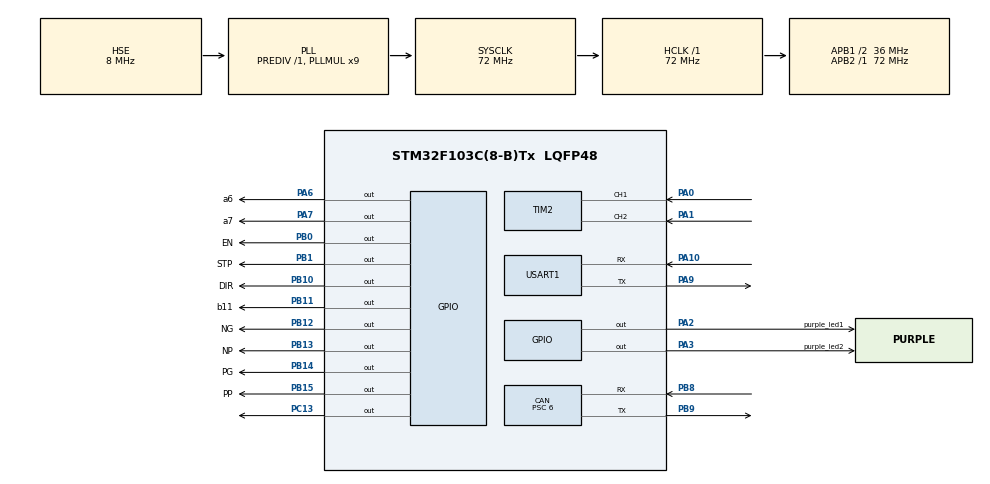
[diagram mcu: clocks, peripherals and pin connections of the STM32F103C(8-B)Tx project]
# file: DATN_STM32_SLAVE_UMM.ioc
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CAN.BS1=CAN_BS1_2TQ
CAN.BS2=CAN_BS2_3TQ
CAN.CalculateBaudRate=999999
CAN.CalculateTimeBit=1000
CAN.CalculateTimeQuantum=166.66666666666669
CAN.NART=DISABLE
CAN.Prescaler=6
Mcu.Family=STM32F1
Mcu.Name=STM32F103C(8-B)Tx
Mcu.Package=LQFP48
NVIC.PriorityGroup=NVIC_PRIORITYGROUP_0
NVIC.TIM1_UP_IRQn=true\:0\:0\:false\:false\:true\:true\:true\:true
NVIC.TIM2_IRQn=true\:0\:0\:false\:false\:true\:true\:true\:true
NVIC.USART1_IRQn=true\:0\:0\:false\:false\:true\:true\:true\:true
NVIC.USB_LP_CAN1_RX0_IRQn=true\:0\:0\:false\:false\:true\:true\:true\:true
PA0-WKUP.GPIO_PuPd=GPIO_PULLUP
PA0-WKUP.Signal=S_TIM2_CH1_ETR
PA1.GPIO_PuPd=GPIO_PULLUP
PA1.Signal=S_TIM2_CH2
PA10.Mode=Asynchronous
PA10.Signal=USART1_RX
PA13.Mode=Serial_Wire
PA13.Signal=SYS_JTMS-SWDIO
PA14.Mode=Serial_Wire
PA14.Signal=SYS_JTCK-SWCLK
PA2.GPIO_Label=purple_led1
PA2.Signal=GPIO_Output
PA3.GPIO_Label=purple_led2
PA3.Signal=GPIO_Output
PA6.GPIO_Label=a6
PA6.Signal=GPIO_Output
PA7.GPIO_Label=a7
PA7.Signal=GPIO_Output
PA9.Mode=Asynchronous
PA9.Signal=USART1_TX
PB0.GPIO_Label=EN
PB0.Signal=GPIO_Output
PB1.GPIO_Label=STP
PB1.Signal=GPIO_Output
PB10.GPIO_Label=DIR
PB10.Signal=GPIO_Output
PB11.GPIO_Label=b11
PB11.Signal=GPIO_Output
PB12.GPIO_Label=NG
PB12.GPIO_Speed=GPIO_SPEED_FREQ_HIGH
PB12.PinState=GPIO_PIN_SET
PB12.Signal=GPIO_Output
PB13.GPIO_Label=NP
PB13.GPIO_PuPd=GPIO_PULLDOWN
PB13.GPIO_Speed=GPIO_SPEED_FREQ_HIGH
PB13.PinState=GPIO_PIN_SET
PB13.Signal=GPIO_Output
PB14.GPIO_Label=PG
PB14.GPIO_Speed=GPIO_SPEED_FREQ_HIGH
PB14.PinState=GPIO_PIN_SET
PB14.Signal=GPIO_Output
PB15.GPIO_Label=PP
PB15.GPIO_Speed=GPIO_SPEED_FREQ_HIGH
PB15.PinState=GPIO_PIN_SET
PB15.Signal=GPIO_Output
PB8.Mode=CAN_Activate
PB8.Signal=CAN_RX
PB9.Mode=CAN_Activate
PB9.Signal=CAN_TX
PC13-TAMPER-RTC.GPIO_Speed=GPIO_SPEED_FREQ_HIGH
PC13-TAMPER-RTC.Signal=GPIO_Output
PC14-OSC32_IN.Mode=LSE-External-Oscillator
PC14-OSC32_IN.Signal=RCC_OSC32_IN
PC15-OSC32_OUT.Mode=LSE-External-Oscillator
PC15-OSC32_OUT.Signal=RCC_OSC32_OUT
PD0-OSC_IN.Mode=HSE-External-Oscillator
PD0-OSC_IN.Signal=RCC_OSC_IN
PD1-OSC_OUT.Mode=HSE-External-Oscillator
PD1-OSC_OUT.Signal=RCC_OSC_OUT
ProjectManager.HeapSize=0x200
ProjectManager.StackSize=0x400
ProjectManager.TargetToolchain=STM32CubeIDE
RCC.AHBFreq_Value=72000000
RCC.APB1CLKDivider=RCC_HCLK_DIV2
RCC.APB1Freq_Value=36000000
RCC.APB1TimFreq_Value=72000000
RCC.APB2Freq_Value=72000000
RCC.APB2TimFreq_Value=72000000
RCC.HCLKFreq_Value=72000000
RCC.PLLMUL=RCC_PLL_MUL9
RCC.PLLSourceVirtual=RCC_PLLSOURCE_HSE
RCC.SYSCLKFreq_VALUE=72000000
RCC.SYSCLKSource=RCC_SYSCLKSOURCE_PLLCLK
RCC.USBFreq_Value=72000000
SH.S_TIM2_CH1_ETR.0=TIM2_CH1,Encoder_Interface
SH.S_TIM2_CH2.0=TIM2_CH2,Encoder_Interface
TIM1.Period=999
TIM1.Prescaler=71
TIM2.AutoReloadPreload=TIM_AUTORELOAD_PRELOAD_DISABLE
TIM2.EncoderMode=TIM_ENCODERMODE_TI12
TIM2.IC1Polarity=TIM_ICPOLARITY_FALLING
TIM2.IC2Polarity=TIM_ICPOLARITY_FALLING
TIM2.TIM_MasterOutputTrigger=TIM_TRGO_ENABLE
TIM2.TIM_MasterSlaveMode=TIM_MASTERSLAVEMODE_ENABLE
TIM4.Prescaler=71
USART1.VirtualMode=VM_ASYNC
VP_TIM1_VS_ClockSourceINT.Mode=Internal
VP_TIM4_VS_ClockSourceINT.Mode=Internal
board=custom

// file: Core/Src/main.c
/* USER CODE BEGIN Header */
/**
 ******************************************************************************
 * @file           : main.c
 * @brief          : Main program body
 ******************************************************************************
 * @attention
 *
 * Copyright (c) 2023 STMicroelectronics.
 * All rights reserved.
 *
 * This software is licensed under terms that can be found in the LICENSE file
 * in the root directory of this software component.
 * If no LICENSE file comes with this software, it is provided AS-IS.
 *
 ******************************************************************************
 */
/* USER CODE END Header */
#include "main.h"

/* USER CODE BEGIN Includes */
#include <stdio.h>
#include <stdbool.h>
#include <string.h>
#include <stdlib.h>
#include <math.h>
/* USER CODE END Includes */

/* USER CODE BEGIN PTD */

CAN_TxHeaderTypeDef TX_CAN_HEADER;
CAN_RxHeaderTypeDef RX_CAN_HEADER;
CAN_FilterTypeDef canfilterconfig;

//=============MODE
#define AC_SERVO 0
#define STP_MOTOR 1

bool Mode = AC_SERVO;
uint8_t Position;
//=============DEBUG
uint16_t count; // for debug
uint32_t position; // for debug

//=============MOTOR
#define GearboxAC_DtoP 15000/360 //Manual setup 15 gear and 1000ppr (15*1000/360)
#define EncoderResolution 15*200/360 // Encoder with 200ppr and 47.2 GearBox
#define ConvertEtoA 360/(15*200)
#define GearboxStep_DtoP 1600/360 // gear box of step motor

int16_t Angle = 0; //Current Angle
uint16_t resetAngle = 0;
float previousAngle = 0;
bool Run = false;
//=============UART
#define TxBufferSize 4  //Transmit Data
#define RxBufferSize 10 //Receive Data Position

#define UART_OK 1
#define UART_NOT_OK 0

uint8_t TxDataUart[TxBufferSize];
uint8_t RxDataUart[RxBufferSize];

int sign; // xet dau cho goc tu step encoder

//=============CAN
uint8_t CAN_Data_Rx[6]; // du lieu nhan tu can
uint32_t TxMailBox;

float pulseEnd = 0; //luu xung ho lan tiep
//int32_t pulseSupply=0;
bool Check_Data = 0; //kiem tra du lie

uint8_t Data_Decode[6] = {'0'}; // Array temp for data send to master
uint8_t RxSaveUart[6] = {'0'}; // Array temp for data send to master
char Data_Saved[6]; //du lieu duoc luu vao sau khi nhan tu CAN
bool flag_send = false; // cho phep gui du lieu
bool flag_run = false;

//=============TIMER1
bool flag_timer1 = false;
bool flag_enable_send = false;

uint8_t countSampleTime = 0; // time for sampling
uint8_t countSendData = 0; // time for send data to CAN

//=============END=============

/* USER CODE END PTD */

/* USER CODE BEGIN PM */
volatile short ExternalPulse;
/* USER CODE END PM */

CAN_HandleTypeDef hcan;

TIM_HandleTypeDef htim1;
TIM_HandleTypeDef htim2;
TIM_HandleTypeDef htim4;

UART_HandleTypeDef huart1;

void SystemClock_Config(void);
static void MX_GPIO_Init(void);
static void MX_TIM1_Init(void);
static void MX_TIM2_Init(void);
static void MX_TIM4_Init(void);
static void MX_CAN_Init(void);
static void MX_USART1_UART_Init(void);

/* USER CODE BEGIN 0 */

//=================STEP MOTOR ENCODER (Checked)
uint8_t getCheckSum(uint8_t *buffer,uint8_t size)
{
	uint16_t sum=0;
	for(uint8_t i = 0 ;i < size;i++)
	{
		sum += buffer[i];
	}
	return(sum&0xFF);
}
void ReadUart(uint8_t l_sAddress)
{
	TxDataUart[0] = 0xFA;
	TxDataUart[1] = l_sAddress;
	TxDataUart[2] = 0x31; // Position read mode int32 (4 bytes data last)
	TxDataUart[3] = 0;
	TxDataUart[3] = getCheckSum(TxDataUart,TxBufferSize-1);

	HAL_UART_Transmit_IT(&huart1, TxDataUart, TxBufferSize);
}
int32_t DecodeData(uint8_t *input)
{
	int32_t readValue = (int32_t)(
			((uint32_t)input[0] << 24)    |
			((uint32_t)input[1] << 16)    |
			((uint32_t)input[2] << 8)     |
			((uint32_t)input[3] << 0));
	return readValue;
}

////=================ENCODER DATA (Checked)
//void EncodeDataDC(uint8_t dataSend[])
//{
//	ReadUart(1);
//	if(Check_Data == 1) // du lieu hop le ?
//	{
//		Check_Data = 0;
//		float Position = (float)(DecodeData(&RxSaveUart[5]));
//		Angle = (Position*PosToDeg*100)/1 - resetAngle; // INT
//	}
//	int IntValue = abs(Angle/100);
//	int DecValue = abs(Angle%100);
//
//	dataSend[0] = DecValue/1%10;
//	dataSend[1] = DecValue/10%10;
//
//	dataSend[2] = IntValue/1%10;
//	dataSend[3] = IntValue/10%10;
//	dataSend[4] = IntValue/100%10;
//
//	if(Angle < 0) dataSend[5] = '-';
//	else 		  dataSend[5] = '+';
//}
void EncodeDataAC(uint8_t dataSend[])
{
	ExternalPulse = __HAL_TIM_GET_COUNTER(&htim2); // pulse input read
	Angle = -ExternalPulse*ConvertEtoA*100;// AC-: 200 Pulse / Cycle *100 to get 2 decimal

	int IntValue = abs(Angle/100);
	int DecValue = abs(Angle%100);

	dataSend[0] = DecValue/1%10;
	dataSend[1] = DecValue/10%10;

	dataSend[2] = IntValue/1%10;
	dataSend[3] = IntValue/10%10;
	dataSend[4] = IntValue/100%10;

	if(Angle < 0) dataSend[5] = '-';
	else	      dataSend[5] = '+';
}

//=================TIMER4 COUNTER MODE DELAY (checked)
void delay_us (uint16_t us)
{
	__HAL_TIM_SET_COUNTER(&htim4,0);
	while (__HAL_TIM_GET_COUNTER(&htim4) < us);
}

//=================CONTROL DC MOTOR (checked tempt)
void ForwardDC(uint16_t l_pulseIn, uint16_t timeDelay)
{
	HAL_GPIO_WritePin(DIR_GPIO_Port, DIR_Pin, GPIO_PIN_SET);
	for(uint16_t i =0; i < l_pulseIn; i++)
	{
		HAL_GPIO_WritePin(STP_GPIO_Port, STP_Pin, GPIO_PIN_SET);
		delay_us(timeDelay);
		HAL_GPIO_WritePin(STP_GPIO_Port, STP_Pin, GPIO_PIN_RESET);
		delay_us(timeDelay);
	}
}
void InverseDC(uint16_t l_pulseIn, uint16_t timeDelay)
{
	HAL_GPIO_WritePin(DIR_GPIO_Port, DIR_Pin, GPIO_PIN_RESET);
	for(uint16_t i = 0; i < l_pulseIn; i++)
	{
		HAL_GPIO_WritePin(STP_GPIO_Port, STP_Pin, GPIO_PIN_SET);
		delay_us(timeDelay);
		HAL_GPIO_WritePin(STP_GPIO_Port, STP_Pin, GPIO_PIN_RESET);
		delay_us(timeDelay);
	}
}

//=================CONTROL AC SERVO (checked tempt)
void Create_pulse_Forward_AC(uint32_t pulse_in, uint32_t time_delay)
{
	HAL_GPIO_WritePin(GPIOB, NP_Pin, GPIO_PIN_SET);
	for (int i = 0; i < pulse_in; i++)
	{
		HAL_GPIO_WritePin(GPIOB, PP_Pin, GPIO_PIN_RESET);
		delay_us(time_delay);
		HAL_GPIO_WritePin(GPIOB, PP_Pin, GPIO_PIN_SET);
		delay_us(time_delay);
	}
}
void Create_pulse_Inverse_AC(uint32_t pulse_in, uint32_t time_delay)
{
	HAL_GPIO_WritePin(GPIOB, NP_Pin, GPIO_PIN_RESET);
	for (int i = 0; i < pulse_in; i++)
	{
		HAL_GPIO_WritePin(GPIOB, PP_Pin, GPIO_PIN_RESET);
		delay_us(time_delay);
		HAL_GPIO_WritePin(GPIOB, PP_Pin, GPIO_PIN_SET);
		delay_us(time_delay);
	}
}

//=================MODE CONTROL AC SERVO/DC MOTOR (Checked)
void Control_Motor(float DELTA)
{
	if(Mode == AC_SERVO)
	{
		float deltaPulse = DELTA*GearboxAC_DtoP; //36000 XUNG/VONG
		pulseEnd += deltaPulse - (int32_t)deltaPulse;
		int32_t pulseSupply = deltaPulse + (int32_t)pulseEnd/1;

		pulseEnd -= (int32_t)pulseEnd/1;
		if(pulseSupply > 0)
		{
			Create_pulse_Forward_AC(abs(pulseSupply), 10);
		}
		else if(pulseSupply < 0)
		{
			Create_pulse_Inverse_AC(abs(pulseSupply), 10);
		}
		else;
	}
	else // DC Motor
	{
		float deltaPulse = DELTA*GearboxStep_DtoP;
		pulseEnd += deltaPulse - (int32_t)deltaPulse;
		int32_t pulseSupply = deltaPulse + (int32_t)pulseEnd/1;

		pulseEnd -= (int32_t)pulseEnd/1;
		if(pulseSupply > 0)
		{
			ForwardDC(abs(pulseSupply), 100);
		}
		else if(pulseSupply < 0)
		{
			InverseDC(abs(pulseSupply), 100);
		}
		else;
	}
}

//=================TIMER1 TIMER MODE SAMPLE TIME (checked)
void HAL_UART_RxCpltCallback(UART_HandleTypeDef *huart)
{
	if(HAL_UART_Receive_IT(&huart1, RxDataUart, RxBufferSize) == HAL_OK)
	{
		if(RxDataUart[0] == 251 && RxDataUart[1] == 1 && RxDataUart [2] == 49)
		{
			Check_Data = 1;
			RxSaveUart[3] = RxDataUart[3];
			RxSaveUart[4] = RxDataUart[4];
			RxSaveUart[5] = RxDataUart[5];
			RxSaveUart[6] = RxDataUart[6];
			RxSaveUart[7] = RxDataUart[7];
			RxSaveUart[8] = RxDataUart[8];
			RxSaveUart[9] = getCheckSum(RxDataUart, RxBufferSize-1);
		}
		else
		{
			memset(RxSaveUart, 0x00,  RxBufferSize);
			ReadUart(1);
		}
	}
}

//=================TIMER1 TIMER MODE SAMPLE TIME (checked)
void HAL_TIM_PeriodElapsedCallback(TIM_HandleTypeDef *htim)
{
	if(htim->Instance == TIM1)
	{
		countSampleTime++;
		countSendData++;
		if(countSampleTime == 3)
		{
			flag_timer1 = true;
			countSampleTime = 0;
		}
		if(countSendData == 1)
		{
			flag_enable_send = true;
			countSendData = 0;
		}
	}
}
//=================TIMER2 EXTERNAL COUNTER MODE ENCODER (Checked)
void HAL_TIM_IC_CaptureCallback(TIM_HandleTypeDef *htim)
{
	if(htim->Instance == TIM2)
	{
		ExternalPulse = __HAL_TIM_GET_COUNTER(&htim2);
	}
}

//=================INTERRUPT CAN RECEIVE MESSAGE (Checked)
void HAL_CAN_RxFifo0MsgPendingCallback(CAN_HandleTypeDef *hcan)
{
	if(HAL_CAN_GetRxMessage(hcan, CAN_RX_FIFO0, &RX_CAN_HEADER, CAN_Data_Rx) == HAL_OK)
	{
		switch(RX_CAN_HEADER.StdId)
		{
		case 0x008:
			Data_Saved[0] = CAN_Data_Rx[0];
			Data_Saved[1] = CAN_Data_Rx[1];
			Data_Saved[2] = CAN_Data_Rx[2];
			Data_Saved[3] = CAN_Data_Rx[3];
			Data_Saved[4] = CAN_Data_Rx[4];
			Data_Saved[5] = CAN_Data_Rx[5];
			HAL_GPIO_TogglePin(GPIOC, GPIO_PIN_13);
			break;
		case 0x000:
			if(CAN_Data_Rx[0] == 's')
			{
				flag_run = true;
			}
			if(CAN_Data_Rx[0] == '4')
			{
				flag_send = true;
			}
			if(CAN_Data_Rx[0] == 'r')
			{
				TIM2->CNT=0;
				ExternalPulse = 0;
				resetAngle = Angle;
				Angle = 0;
				previousAngle = 0;
			}
			break;
		}
	}
}

/* USER CODE END 0 */

int main(void)
{

	/* MCU Configuration--------------------------------------------------------*/

	/* Reset of all peripherals, Initializes the Flash interface and the Systick. */
	HAL_Init();

	/* Configure the system clock */
	SystemClock_Config();

	/* Initialize all configured peripherals */
	MX_GPIO_Init();
	MX_TIM1_Init();
	MX_TIM2_Init();
	MX_TIM4_Init();
	MX_CAN_Init();
	MX_USART1_UART_Init();
	/* USER CODE BEGIN 2 */

	//========CAN
	HAL_CAN_Start(&hcan);
	HAL_CAN_ActivateNotification(&hcan, CAN_IT_RX_FIFO0_MSG_PENDING); // Enable interrupts

	//========TIMER AND COUNTER
	HAL_TIM_Base_Start(&htim4);
	HAL_TIM_Base_Start_IT(&htim1);

//	//========UART
//	HAL_UART_Receive_IT(&huart1, RxDataUart, RxBufferSize);
//	HAL_Delay(100);
//
//	//========ENCODER
//	HAL_TIM_Encoder_Start_IT(&htim2, TIM_CHANNEL_1|TIM_CHANNEL_2);
//	HAL_TIM_IC_Start_IT(&htim2, TIM_CHANNEL_1|TIM_CHANNEL_2);

	//========SET DEFAULT PIN MODE
	HAL_GPIO_WritePin(GPIOB, PG_Pin, GPIO_PIN_SET);
	HAL_GPIO_WritePin(GPIOB, NG_Pin, GPIO_PIN_SET);
	HAL_GPIO_WritePin(GPIOB, PP_Pin, GPIO_PIN_SET);
	HAL_GPIO_WritePin(GPIOB, NP_Pin, GPIO_PIN_SET);
	//========STEP MOTOR SET PIN
	HAL_GPIO_WritePin(GPIOB, EN_Pin, GPIO_PIN_SET); //Enable Step
	HAL_GPIO_WritePin(GPIOB, STP_Pin, GPIO_PIN_RESET);
	HAL_GPIO_WritePin(GPIOB, DIR_Pin, GPIO_PIN_RESET);

	HAL_GPIO_WritePin(purple_led1_GPIO_Port, purple_led1_Pin, GPIO_PIN_SET);
	HAL_GPIO_WritePin(purple_led2_GPIO_Port, purple_led2_Pin, GPIO_PIN_SET);
	/* USER CODE END 2 */

	/* Infinite loop */
	while (1)
	{

		/* USER CODE BEGIN 3 */
		InverseDC(1600, 100);
		HAL_Delay(1000);
		ForwardDC(1600, 100);
		HAL_Delay(1000);

	}
	/* USER CODE END 3 */
}

void SystemClock_Config(void)
{
	RCC_OscInitTypeDef RCC_OscInitStruct = {0};
	RCC_ClkInitTypeDef RCC_ClkInitStruct = {0};

	/** Initializes the RCC Oscillators according to the specified parameters
	 * in the RCC_OscInitTypeDef structure.
	 */
	RCC_OscInitStruct.OscillatorType = RCC_OSCILLATORTYPE_HSE;
	RCC_OscInitStruct.HSEState = RCC_HSE_ON;
	RCC_OscInitStruct.HSEPredivValue = RCC_HSE_PREDIV_DIV1;
	RCC_OscInitStruct.HSIState = RCC_HSI_ON;
	RCC_OscInitStruct.PLL.PLLState = RCC_PLL_ON;
	RCC_OscInitStruct.PLL.PLLSource = RCC_PLLSOURCE_HSE;
	RCC_OscInitStruct.PLL.PLLMUL = RCC_PLL_MUL9;
	if (HAL_RCC_OscConfig(&RCC_OscInitStruct) != HAL_OK)
	{
		Error_Handler();
	}

	/** Initializes the CPU, AHB and APB buses clocks
	 */
	RCC_ClkInitStruct.ClockType = RCC_CLOCKTYPE_HCLK|RCC_CLOCKTYPE_SYSCLK
			|RCC_CLOCKTYPE_PCLK1|RCC_CLOCKTYPE_PCLK2;
	RCC_ClkInitStruct.SYSCLKSource = RCC_SYSCLKSOURCE_PLLCLK;
	RCC_ClkInitStruct.AHBCLKDivider = RCC_SYSCLK_DIV1;
	RCC_ClkInitStruct.APB1CLKDivider = RCC_HCLK_DIV2;
	RCC_ClkInitStruct.APB2CLKDivider = RCC_HCLK_DIV1;

	if (HAL_RCC_ClockConfig(&RCC_ClkInitStruct, FLASH_LATENCY_2) != HAL_OK)
	{
		Error_Handler();
	}
}

static void MX_CAN_Init(void)
{

	hcan.Instance = CAN1;
	hcan.Init.Prescaler = 6;
	hcan.Init.Mode = CAN_MODE_NORMAL;
	hcan.Init.SyncJumpWidth = CAN_SJW_1TQ;
	hcan.Init.TimeSeg1 = CAN_BS1_2TQ;
	hcan.Init.TimeSeg2 = CAN_BS2_3TQ;
	hcan.Init.TimeTriggeredMode = DISABLE;
	hcan.Init.AutoBusOff = DISABLE;
	hcan.Init.AutoWakeUp = DISABLE;
	hcan.Init.AutoRetransmission = DISABLE;
	hcan.Init.ReceiveFifoLocked = DISABLE;
	hcan.Init.TransmitFifoPriority = DISABLE;
	if (HAL_CAN_Init(&hcan) != HAL_OK)
	{
		Error_Handler();
	}
	/* USER CODE BEGIN CAN_Init 2 */

	canfilterconfig.FilterActivation = CAN_FILTER_ENABLE;
	canfilterconfig.FilterBank = 1; // which filter bank to use from the assigned ones
	canfilterconfig.FilterFIFOAssignment = CAN_FILTER_FIFO0; //
	canfilterconfig.FilterIdHigh = 0x008 << 5;
	canfilterconfig.FilterIdLow = 0x000;
	canfilterconfig.FilterMaskIdHigh = 0xff7 << 5;
	canfilterconfig.FilterMaskIdLow = 0x000;
	canfilterconfig.FilterMode = CAN_FILTERMODE_IDMASK;
	canfilterconfig.FilterScale = CAN_FILTERSCALE_32BIT;
	canfilterconfig.SlaveStartFilterBank = 1;

	if(HAL_CAN_ConfigFilter(&hcan, &canfilterconfig) != HAL_OK) // add
	{
		Error_Handler();
	}
	/* -----------------------------CAN Transmit and Interrrupts ----------------------------- */
	TX_CAN_HEADER.RTR= CAN_RTR_DATA; //Remote transmission request = Data frame
	TX_CAN_HEADER.IDE= CAN_ID_STD; 	 //Standard Id (11 bits for the identifier)
	TX_CAN_HEADER.DLC= 6;
	TX_CAN_HEADER.StdId = 0x008;
	/* USER CODE END CAN_Init 2 */

}

static void MX_TIM1_Init(void)
{

	TIM_ClockConfigTypeDef sClockSourceConfig = {0};
	TIM_MasterConfigTypeDef sMasterConfig = {0};

	htim1.Instance = TIM1;
	htim1.Init.Prescaler = 71;
	htim1.Init.CounterMode = TIM_COUNTERMODE_UP;
	htim1.Init.Period = 999;
	htim1.Init.ClockDivision = TIM_CLOCKDIVISION_DIV1;
	htim1.Init.RepetitionCounter = 0;
	htim1.Init.AutoReloadPreload = TIM_AUTORELOAD_PRELOAD_DISABLE;
	if (HAL_TIM_Base_Init(&htim1) != HAL_OK)
	{
		Error_Handler();
	}
	sClockSourceConfig.ClockSource = TIM_CLOCKSOURCE_INTERNAL;
	if (HAL_TIM_ConfigClockSource(&htim1, &sClockSourceConfig) != HAL_OK)
	{
		Error_Handler();
	}
	sMasterConfig.MasterOutputTrigger = TIM_TRGO_RESET;
	sMasterConfig.MasterSlaveMode = TIM_MASTERSLAVEMODE_DISABLE;
	if (HAL_TIMEx_MasterConfigSynchronization(&htim1, &sMasterConfig) != HAL_OK)
	{
		Error_Handler();
	}

}

static void MX_TIM2_Init(void)
{

	TIM_Encoder_InitTypeDef sConfig = {0};
	TIM_MasterConfigTypeDef sMasterConfig = {0};

	htim2.Instance = TIM2;
	htim2.Init.Prescaler = 0;
	htim2.Init.CounterMode = TIM_COUNTERMODE_UP;
	htim2.Init.Period = 65535;
	htim2.Init.ClockDivision = TIM_CLOCKDIVISION_DIV1;
	htim2.Init.AutoReloadPreload = TIM_AUTORELOAD_PRELOAD_DISABLE;
	sConfig.EncoderMode = TIM_ENCODERMODE_TI12;
	sConfig.IC1Polarity = TIM_ICPOLARITY_FALLING;
	sConfig.IC1Selection = TIM_ICSELECTION_DIRECTTI;
	sConfig.IC1Prescaler = TIM_ICPSC_DIV1;
	sConfig.IC1Filter = 0;
	sConfig.IC2Polarity = TIM_ICPOLARITY_FALLING;
	sConfig.IC2Selection = TIM_ICSELECTION_DIRECTTI;
	sConfig.IC2Prescaler = TIM_ICPSC_DIV1;
	sConfig.IC2Filter = 0;
	if (HAL_TIM_Encoder_Init(&htim2, &sConfig) != HAL_OK)
	{
		Error_Handler();
	}
	sMasterConfig.MasterOutputTrigger = TIM_TRGO_ENABLE;
	sMasterConfig.MasterSlaveMode = TIM_MASTERSLAVEMODE_ENABLE;
	if (HAL_TIMEx_MasterConfigSynchronization(&htim2, &sMasterConfig) != HAL_OK)
	{
		Error_Handler();
	}

}

static void MX_TIM4_Init(void)
{

	TIM_ClockConfigTypeDef sClockSourceConfig = {0};
	TIM_MasterConfigTypeDef sMasterConfig = {0};

	htim4.Instance = TIM4;
	htim4.Init.Prescaler = 71;
	htim4.Init.CounterMode = TIM_COUNTERMODE_UP;
	htim4.Init.Period = 65535;
	htim4.Init.ClockDivision = TIM_CLOCKDIVISION_DIV1;
	htim4.Init.AutoReloadPreload = TIM_AUTORELOAD_PRELOAD_DISABLE;
	if (HAL_TIM_Base_Init(&htim4) != HAL_OK)
	{
		Error_Handler();
	}
	sClockSourceConfig.ClockSource = TIM_CLOCKSOURCE_INTERNAL;
	if (HAL_TIM_ConfigClockSource(&htim4, &sClockSourceConfig) != HAL_OK)
	{
		Error_Handler();
	}
	sMasterConfig.MasterOutputTrigger = TIM_TRGO_RESET;
	sMasterConfig.MasterSlaveMode = TIM_MASTERSLAVEMODE_DISABLE;
	if (HAL_TIMEx_MasterConfigSynchronization(&htim4, &sMasterConfig) != HAL_OK)
	{
		Error_Handler();
	}

}

static void MX_USART1_UART_Init(void)
{

	huart1.Instance = USART1;
	huart1.Init.BaudRate = 115200;
	huart1.Init.WordLength = UART_WORDLENGTH_8B;
	huart1.Init.StopBits = UART_STOPBITS_1;
	huart1.Init.Parity = UART_PARITY_NONE;
	huart1.Init.Mode = UART_MODE_TX_RX;
	huart1.Init.HwFlowCtl = UART_HWCONTROL_NONE;
	huart1.Init.OverSampling = UART_OVERSAMPLING_16;
	if (HAL_UART_Init(&huart1) != HAL_OK)
	{
		Error_Handler();
	}

}

static void MX_GPIO_Init(void)
{
	GPIO_InitTypeDef GPIO_InitStruct = {0};

	/* GPIO Ports Clock Enable */
	__HAL_RCC_GPIOC_CLK_ENABLE();
	__HAL_RCC_GPIOD_CLK_ENABLE();
	__HAL_RCC_GPIOA_CLK_ENABLE();
	__HAL_RCC_GPIOB_CLK_ENABLE();

	/*Configure GPIO pin Output Level */
	HAL_GPIO_WritePin(GPIOC, GPIO_PIN_13, GPIO_PIN_RESET);

	/*Configure GPIO pin Output Level */
	HAL_GPIO_WritePin(GPIOA, purple_led1_Pin|purple_led2_Pin|a6_Pin|a7_Pin, GPIO_PIN_RESET);

	/*Configure GPIO pin Output Level */
	HAL_GPIO_WritePin(GPIOB, EN_Pin|STP_Pin|DIR_Pin|b11_Pin, GPIO_PIN_RESET);

	/*Configure GPIO pin Output Level */
	HAL_GPIO_WritePin(GPIOB, NG_Pin|NP_Pin|PG_Pin|PP_Pin, GPIO_PIN_SET);

	/*Configure GPIO pin : PC13 */
	GPIO_InitStruct.Pin = GPIO_PIN_13;
	GPIO_InitStruct.Mode = GPIO_MODE_OUTPUT_PP;
	GPIO_InitStruct.Pull = GPIO_NOPULL;
	GPIO_InitStruct.Speed = GPIO_SPEED_FREQ_HIGH;
	HAL_GPIO_Init(GPIOC, &GPIO_InitStruct);

	/*Configure GPIO pins : purple_led1_Pin purple_led2_Pin a6_Pin a7_Pin */
	GPIO_InitStruct.Pin = purple_led1_Pin|purple_led2_Pin|a6_Pin|a7_Pin;
	GPIO_InitStruct.Mode = GPIO_MODE_OUTPUT_PP;
	GPIO_InitStruct.Pull = GPIO_NOPULL;
	GPIO_InitStruct.Speed = GPIO_SPEED_FREQ_LOW;
	HAL_GPIO_Init(GPIOA, &GPIO_InitStruct);

	/*Configure GPIO pins : EN_Pin STP_Pin DIR_Pin b11_Pin */
	GPIO_InitStruct.Pin = EN_Pin|STP_Pin|DIR_Pin|b11_Pin;
	GPIO_InitStruct.Mode = GPIO_MODE_OUTPUT_PP;
	GPIO_InitStruct.Pull = GPIO_NOPULL;
	GPIO_InitStruct.Speed = GPIO_SPEED_FREQ_LOW;
	HAL_GPIO_Init(GPIOB, &GPIO_InitStruct);

	/*Configure GPIO pins : NG_Pin PG_Pin PP_Pin */
	GPIO_InitStruct.Pin = NG_Pin|PG_Pin|PP_Pin;
	GPIO_InitStruct.Mode = GPIO_MODE_OUTPUT_PP;
	GPIO_InitStruct.Pull = GPIO_NOPULL;
	GPIO_InitStruct.Speed = GPIO_SPEED_FREQ_HIGH;
	HAL_GPIO_Init(GPIOB, &GPIO_InitStruct);

	/*Configure GPIO pin : NP_Pin */
	GPIO_InitStruct.Pin = NP_Pin;
	GPIO_InitStruct.Mode = GPIO_MODE_OUTPUT_PP;
	GPIO_InitStruct.Pull = GPIO_PULLDOWN;
	GPIO_InitStruct.Speed = GPIO_SPEED_FREQ_HIGH;
	HAL_GPIO_Init(NP_GPIO_Port, &GPIO_InitStruct);

}

void Error_Handler(void)
{
	__disable_irq();
	while (1)
	{
	}
}
